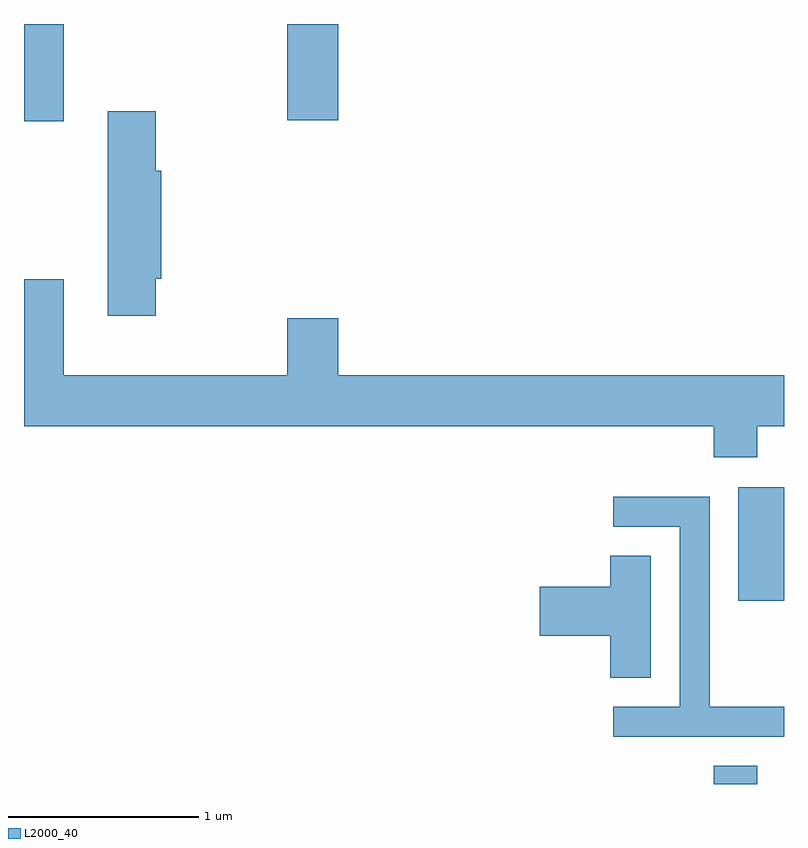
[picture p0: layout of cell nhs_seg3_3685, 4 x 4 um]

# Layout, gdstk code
import gdstk
lib = gdstk.Library(unit=1e-6, precision=1e-09)
def R(c, l, rs):  # rectangles x0, y0, x1, y1
    for r in rs: c.add(gdstk.rectangle(r[:2], r[2:], *l))
def P(c, l, *ps):  # polygons
    for p in ps: c.add(gdstk.Polygon(p, *l))
L2000_40 = (2000, 40)

nhs_seg3_3685 = lib.new_cell('nhs_seg3_3685')
R(nhs_seg3_3685, L2000_40, [(297.241,1141.892,297.469,1141.989), (297.371,1142.856,297.611,1143.454), (293.611,1145.381,293.819,1145.892), (294.996,1145.386,295.264,1145.892)])
P(nhs_seg3_3685, L2000_40, [(294.304,1144.551),(294.334,1144.551),(294.334,1145.119),(294.304,1145.119),(294.304,1145.434),(294.051,1145.434),(294.051,1144.356),(294.304,1144.356)],
  [(297.469,1143.776),(297.611,1143.776),(297.611,1144.044),(295.264,1144.044),(295.264,1144.344),(294.996,1144.344),(294.996,1144.044),(293.819,1144.044),(293.819,1144.549),(293.611,1144.549),(293.611,1143.776),(297.241,1143.776),(297.241,1143.611),(297.469,1143.611)],
  [(297.611,1142.299),(297.219,1142.299),(297.219,1143.404),(296.713,1143.404),(296.713,1143.246),(297.061,1143.246),(297.061,1142.299),(296.713,1142.299),(296.713,1142.141),(297.611,1142.141)],
  [(296.909,1143.094),(296.696,1143.094),(296.696,1142.929),(296.326,1142.929),(296.326,1142.671),(296.696,1142.671),(296.696,1142.451),(296.909,1142.451)])

lib.write_gds('nhs_seg3_3685.gds')
